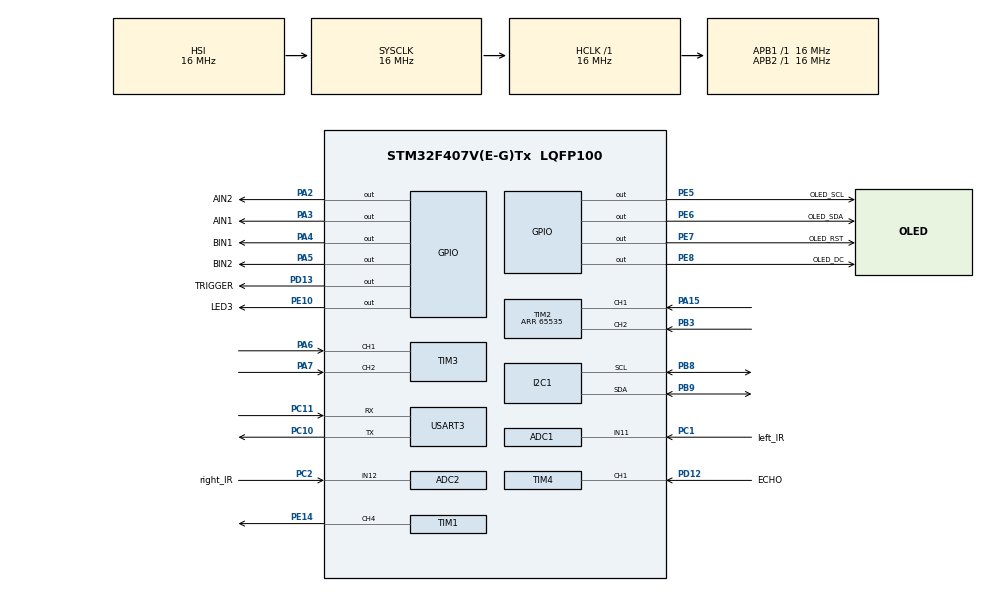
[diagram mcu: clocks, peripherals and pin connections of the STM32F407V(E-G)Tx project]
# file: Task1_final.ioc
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ADC1.Channel-0\#ChannelRegularConversion=ADC_CHANNEL_11
ADC1.NbrOfConversionFlag=1
ADC1.Rank-0\#ChannelRegularConversion=1
ADC1.SamplingTime-0\#ChannelRegularConversion=ADC_SAMPLETIME_3CYCLES
ADC1.master=1
ADC2.Channel-0\#ChannelRegularConversion=ADC_CHANNEL_12
ADC2.NbrOfConversionFlag=1
ADC2.Rank-0\#ChannelRegularConversion=1
ADC2.SamplingTime-0\#ChannelRegularConversion=ADC_SAMPLETIME_3CYCLES
FREERTOS.Tasks01=defaultTask,24,128,StartDefaultTask,Default,NULL,Dynamic,NULL,NULL;rightEncoderTas,8,128,rightEncoder,Default,NULL,Dynamic,NULL,NULL;leftEncoderTask,8,128,leftEncoder,Default,NULL,Dynamic,NULL,NULL;CommTask,8,128,StartCommsTask,Default,NULL,Dynamic,NULL,NULL;OLED,8,256,StartOLEDTask,Default,NULL,Dynamic,NULL,NULL;Motor,8,128,StartMotorTask,Default,NULL,Dynamic,NULL,NULL;GyroTask,8,128,StartGyroTask,Default,NULL,Dynamic,NULL,NULL
Mcu.Family=STM32F4
Mcu.Name=STM32F407V(E-G)Tx
Mcu.Package=LQFP100
NVIC.PriorityGroup=NVIC_PRIORITYGROUP_4
NVIC.RCC_IRQn=true\:5\:0\:false\:false\:true\:true\:true\:false\:true
NVIC.TIM4_IRQn=true\:5\:0\:false\:false\:true\:true\:true\:true\:true
NVIC.USART3_IRQn=true\:5\:0\:false\:false\:true\:true\:true\:true\:true
PA15.Signal=S_TIM2_CH1_ETR
PA2.GPIO_Label=AIN2
PA2.GPIO_Speed=GPIO_SPEED_FREQ_HIGH
PA2.Signal=GPIO_Output
PA3.GPIO_Label=AIN1
PA3.GPIO_Speed=GPIO_SPEED_FREQ_HIGH
PA3.Signal=GPIO_Output
PA4.GPIO_Label=BIN1
PA4.GPIO_Speed=GPIO_SPEED_FREQ_HIGH
PA4.PinState=GPIO_PIN_RESET
PA4.Signal=GPIO_Output
PA5.GPIO_Label=BIN2
PA5.GPIO_Speed=GPIO_SPEED_FREQ_HIGH
PA5.Signal=GPIO_Output
PA6.Signal=S_TIM3_CH1
PA7.Signal=S_TIM3_CH2
PB3.Signal=S_TIM2_CH2
PB8.Mode=I2C
PB8.Signal=I2C1_SCL
PB9.Mode=I2C
PB9.Signal=I2C1_SDA
PC1.GPIO_Label=left_IR
PC1.Signal=ADCx_IN11
PC10.Mode=Asynchronous
PC10.Signal=USART3_TX
PC11.Mode=Asynchronous
PC11.Signal=USART3_RX
PC2.GPIO_Label=right_IR
PC2.Signal=ADCx_IN12
PC6.GPIO_Label=PWMA
PC6.Signal=S_TIM8_CH1
PC7.GPIO_Label=PWMB
PC7.Signal=S_TIM8_CH2
PD12.GPIO_Label=ECHO
PD12.Signal=S_TIM4_CH1
PD13.GPIO_Label=TRIGGER
PD13.Signal=GPIO_Output
PE10.GPIO_Label=LED3
PE10.Signal=GPIO_Output
PE14.Signal=S_TIM1_CH4
PE5.GPIO_Label=OLED_SCL
PE5.Signal=GPIO_Output
PE6.GPIO_Label=OLED_SDA
PE6.Signal=GPIO_Output
PE7.GPIO_Label=OLED_RST
PE7.Signal=GPIO_Output
PE8.GPIO_Label=OLED_DC
PE8.Signal=GPIO_Output
PH0-OSC_IN.Mode=HSE-External-Oscillator
PH0-OSC_IN.Signal=RCC_OSC_IN
PH1-OSC_OUT.Mode=HSE-External-Oscillator
PH1-OSC_OUT.Signal=RCC_OSC_OUT
ProjectManager.HeapSize=0x200
ProjectManager.StackSize=0x400
ProjectManager.TargetToolchain=STM32CubeIDE
RCC.AHBFreq_Value=16000000
RCC.APB1Freq_Value=16000000
RCC.APB2Freq_Value=16000000
RCC.CortexFreq_Value=16000000
RCC.HSE_VALUE=25000000
RCC.HSI_VALUE=16000000
RCC.LSE_VALUE=32768
RCC.SYSCLKFreq_VALUE=16000000
RCC.VCOOutputFreq_Value=192000000
SH.ADCx_IN11.0=ADC1_IN11,IN11
SH.ADCx_IN12.0=ADC2_IN12,IN12
SH.S_TIM1_CH4.0=TIM1_CH4,PWM Generation4 CH4
SH.S_TIM2_CH1_ETR.0=TIM2_CH1,Encoder_Interface
SH.S_TIM2_CH2.0=TIM2_CH2,Encoder_Interface
SH.S_TIM3_CH1.0=TIM3_CH1,Encoder_Interface
SH.S_TIM3_CH2.0=TIM3_CH2,Encoder_Interface
SH.S_TIM4_CH1.0=TIM4_CH1,Input_Capture1_from_TI1
SH.S_TIM8_CH1.0=TIM8_CH1
SH.S_TIM8_CH2.0=TIM8_CH2
TIM1.AutoReloadPreload=TIM_AUTORELOAD_PRELOAD_ENABLE
TIM1.Channel-PWM\ Generation4\ CH4=TIM_CHANNEL_4
TIM1.Period=1000
TIM1.Prescaler=160
TIM2.EncoderMode=TIM_ENCODERMODE_TI12
TIM2.IC1Filter=10
TIM2.IC2Filter=10
TIM2.Period=65535
TIM3.EncoderMode=TIM_ENCODERMODE_TI12
TIM3.IC1Filter=10
TIM3.IC2Filter=10
TIM4.Channel-Input_Capture1_from_TI1=TIM_CHANNEL_1
TIM4.Prescaler=16-1
TIM8.Channel-PWM\ Generation1\ No\ Output=TIM_CHANNEL_1
TIM8.Channel-PWM\ Generation2\ No\ Output=TIM_CHANNEL_2
TIM8.Period=7199
USART3.VirtualMode=VM_ASYNC
VP_FREERTOS_VS_CMSIS_V2.Mode=CMSIS_V2
VP_TIM1_VS_ClockSourceINT.Mode=Internal
VP_TIM8_VS_ClockSourceINT.Mode=Internal
VP_TIM8_VS_no_output1.Mode=PWM Generation1 No Output
VP_TIM8_VS_no_output2.Mode=PWM Generation2 No Output
board=custom

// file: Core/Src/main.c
/* USER CODE BEGIN Header */
/**
  ******************************************************************************
  * @file           : main.c
  * @brief          : Main program body
  ******************************************************************************
  * @attention
  *
  * Copyright (c) 2025 STMicroelectronics.
  * All rights reserved.
  *
  * This software is licensed under terms that can be found in the LICENSE file
  * in the root directory of this software component.
  * If no LICENSE file comes with this software, it is provided AS-IS.
  *
  ******************************************************************************
  */
/* USER CODE END Header */
#include "main.h"
#include "cmsis_os.h"

/* USER CODE BEGIN Includes */
#include "oled.h"
#include "time.h"

/* USER CODE END Includes */

/* USER CODE BEGIN PD */

#define SERVOCENTER 146
#define SERVORIGHT 250
#define SERVOLEFT 84

/* USER CODE END PD */

ADC_HandleTypeDef hadc1;
ADC_HandleTypeDef hadc2;

I2C_HandleTypeDef hi2c1;

TIM_HandleTypeDef htim1;
TIM_HandleTypeDef htim2;
TIM_HandleTypeDef htim3;
TIM_HandleTypeDef htim4;
TIM_HandleTypeDef htim8;

UART_HandleTypeDef huart3;

/* Definitions for defaultTask */
osThreadId_t defaultTaskHandle;
const osThreadAttr_t defaultTask_attributes = {
  .name = "defaultTask",
  .stack_size = 128 * 4,
  .priority = (osPriority_t) osPriorityNormal,
};
/* Definitions for rightEncoderTas */
osThreadId_t rightEncoderTasHandle;
const osThreadAttr_t rightEncoderTas_attributes = {
  .name = "rightEncoderTas",
  .stack_size = 128 * 4,
  .priority = (osPriority_t) osPriorityLow,
};
/* Definitions for leftEncoderTask */
osThreadId_t leftEncoderTaskHandle;
const osThreadAttr_t leftEncoderTask_attributes = {
  .name = "leftEncoderTask",
  .stack_size = 128 * 4,
  .priority = (osPriority_t) osPriorityLow,
};
/* Definitions for CommTask */
osThreadId_t CommTaskHandle;
const osThreadAttr_t CommTask_attributes = {
  .name = "CommTask",
  .stack_size = 128 * 4,
  .priority = (osPriority_t) osPriorityLow,
};
/* Definitions for OLED */
osThreadId_t OLEDHandle;
const osThreadAttr_t OLED_attributes = {
  .name = "OLED",
  .stack_size = 256 * 4,
  .priority = (osPriority_t) osPriorityLow,
};
/* Definitions for Motor */
osThreadId_t MotorHandle;
const osThreadAttr_t Motor_attributes = {
  .name = "Motor",
  .stack_size = 128 * 4,
  .priority = (osPriority_t) osPriorityLow,
};
/* Definitions for GyroTask */
osThreadId_t GyroTaskHandle;
const osThreadAttr_t GyroTask_attributes = {
  .name = "GyroTask",
  .stack_size = 128 * 4,
  .priority = (osPriority_t) osPriorityLow,
};

void SystemClock_Config(void);
static void MX_GPIO_Init(void);
static void MX_TIM8_Init(void);
static void MX_TIM2_Init(void);
static void MX_TIM1_Init(void);
static void MX_USART3_UART_Init(void);
static void MX_TIM3_Init(void);
static void MX_I2C1_Init(void);
static void MX_TIM4_Init(void);
static void MX_ADC1_Init(void);
static void MX_ADC2_Init(void);
void StartDefaultTask(void *argument);
void rightEncoder(void *argument);
void leftEncoder(void *argument);
void StartCommsTask(void *argument);
void StartOLEDTask(void *argument);
void StartMotorTask(void *argument);
void StartGyroTask(void *argument);

/* USER CODE BEGIN 0 */

//UART
int receivedInstruction = 0;
uint8_t aRxBuffer[5];
int flagDone = 0;
int amplitude=0;

// movement
uint16_t pwmVal_servo = SERVOCENTER;
uint16_t pwmVal_R = 0;
uint16_t pwmVal_L = 0;
int times_acceptable = 0;
int e_brake = 0;

// encoder
int32_t rightEncoderVal = 0, leftEncoderVal = 0;
int32_t rightTarget = 0, leftTarget = 0;
double target_angle = 0;

// gyro
double total_angle = 0;
uint8_t gyroBuffer[20];
uint8_t ICMAddress = 0x68;

//ultrasonic
int u_CapturedTrig1;
int uintPart;
double echo_dist;
double echo_pulse;
int32_t trig1;
int32_t trig2;
double filtered_distance=60;
uint16_t filtered_distance_int = 0;
int obstacle_detected = 0;

/* USER CODE END 0 */

int main(void)
{

  /* MCU Configuration--------------------------------------------------------*/

  /* Reset of all peripherals, Initializes the Flash interface and the Systick. */
  HAL_Init();

  /* Configure the system clock */
  SystemClock_Config();

  /* Initialize all configured peripherals */
  MX_GPIO_Init();
  MX_TIM8_Init();
  MX_TIM2_Init();
  MX_TIM1_Init();
  MX_USART3_UART_Init();
  MX_TIM3_Init();
  MX_I2C1_Init();
  MX_TIM4_Init();
  MX_ADC1_Init();
  MX_ADC2_Init();
  /* USER CODE BEGIN 2 */

  /*------------INIT LIBRARIES ----------------*/
 OLED_Init();
 void delay_us(uint16_t time_us);
 //motor_init(&htim8, &htim2, &htim2); 						//initialize motor PWM and encoders. ############################################

 // HAL_UART_Receive_IT(&huart3, (uint8_t *) aRxBuffer,5);			//HAL...(HUART3,aRxBuffer, (how many character to input before it receives)

 /*------------END INIT LIBRARIES ----------------*/
  /* USER CODE END 2 */

  /* Init scheduler */
  osKernelInitialize();

  /* Create the thread(s) */
  /* creation of defaultTask */
  defaultTaskHandle = osThreadNew(StartDefaultTask, NULL, &defaultTask_attributes);

  /* creation of rightEncoderTas */
  rightEncoderTasHandle = osThreadNew(rightEncoder, NULL, &rightEncoderTas_attributes);

  /* creation of leftEncoderTask */
  leftEncoderTaskHandle = osThreadNew(leftEncoder, NULL, &leftEncoderTask_attributes);

  /* creation of CommTask */
  CommTaskHandle = osThreadNew(StartCommsTask, NULL, &CommTask_attributes);

  /* creation of OLED */
  OLEDHandle = osThreadNew(StartOLEDTask, NULL, &OLED_attributes);

  /* creation of Motor */
  MotorHandle = osThreadNew(StartMotorTask, NULL, &Motor_attributes);

  /* creation of GyroTask */
  GyroTaskHandle = osThreadNew(StartGyroTask, NULL, &GyroTask_attributes);

  /* Start scheduler */
  osKernelStart();

  /* We should never get here as control is now taken by the scheduler */

  /* Infinite loop */
  /* USER CODE BEGIN WHILE */
  while(1)
  {

//
//	   HAL_GPIO_TogglePin(LED3_GPIO_Port, LED3_Pin);

    /* USER CODE END WHILE */

  }
}

void SystemClock_Config(void)
{
  RCC_OscInitTypeDef RCC_OscInitStruct = {0};
  RCC_ClkInitTypeDef RCC_ClkInitStruct = {0};

  /** Configure the main internal regulator output voltage
  */
  __HAL_RCC_PWR_CLK_ENABLE();
  __HAL_PWR_VOLTAGESCALING_CONFIG(PWR_REGULATOR_VOLTAGE_SCALE1);

  /** Initializes the RCC Oscillators according to the specified parameters
  * in the RCC_OscInitTypeDef structure.
  */
  RCC_OscInitStruct.OscillatorType = RCC_OSCILLATORTYPE_HSI;
  RCC_OscInitStruct.HSIState = RCC_HSI_ON;
  RCC_OscInitStruct.HSICalibrationValue = RCC_HSICALIBRATION_DEFAULT;
  RCC_OscInitStruct.PLL.PLLState = RCC_PLL_NONE;
  if (HAL_RCC_OscConfig(&RCC_OscInitStruct) != HAL_OK)
  {
    Error_Handler();
  }

  /** Initializes the CPU, AHB and APB buses clocks
  */
  RCC_ClkInitStruct.ClockType = RCC_CLOCKTYPE_HCLK|RCC_CLOCKTYPE_SYSCLK
                              |RCC_CLOCKTYPE_PCLK1|RCC_CLOCKTYPE_PCLK2;
  RCC_ClkInitStruct.SYSCLKSource = RCC_SYSCLKSOURCE_HSI;
  RCC_ClkInitStruct.AHBCLKDivider = RCC_SYSCLK_DIV1;
  RCC_ClkInitStruct.APB1CLKDivider = RCC_HCLK_DIV1;
  RCC_ClkInitStruct.APB2CLKDivider = RCC_HCLK_DIV1;

  if (HAL_RCC_ClockConfig(&RCC_ClkInitStruct, FLASH_LATENCY_0) != HAL_OK)
  {
    Error_Handler();
  }
}

static void MX_ADC1_Init(void)
{

  ADC_ChannelConfTypeDef sConfig = {0};

  /** Configure the global features of the ADC (Clock, Resolution, Data Alignment and number of conversion)
  */
  hadc1.Instance = ADC1;
  hadc1.Init.ClockPrescaler = ADC_CLOCK_SYNC_PCLK_DIV2;
  hadc1.Init.Resolution = ADC_RESOLUTION_12B;
  hadc1.Init.ScanConvMode = DISABLE;
  hadc1.Init.ContinuousConvMode = DISABLE;
  hadc1.Init.DiscontinuousConvMode = DISABLE;
  hadc1.Init.ExternalTrigConvEdge = ADC_EXTERNALTRIGCONVEDGE_NONE;
  hadc1.Init.ExternalTrigConv = ADC_SOFTWARE_START;
  hadc1.Init.DataAlign = ADC_DATAALIGN_RIGHT;
  hadc1.Init.NbrOfConversion = 1;
  hadc1.Init.DMAContinuousRequests = DISABLE;
  hadc1.Init.EOCSelection = ADC_EOC_SINGLE_CONV;
  if (HAL_ADC_Init(&hadc1) != HAL_OK)
  {
    Error_Handler();
  }

  /** Configure for the selected ADC regular channel its corresponding rank in the sequencer and its sample time.
  */
  sConfig.Channel = ADC_CHANNEL_11;
  sConfig.Rank = 1;
  sConfig.SamplingTime = ADC_SAMPLETIME_3CYCLES;
  if (HAL_ADC_ConfigChannel(&hadc1, &sConfig) != HAL_OK)
  {
    Error_Handler();
  }

}

static void MX_ADC2_Init(void)
{

  ADC_ChannelConfTypeDef sConfig = {0};

  /** Configure the global features of the ADC (Clock, Resolution, Data Alignment and number of conversion)
  */
  hadc2.Instance = ADC2;
  hadc2.Init.ClockPrescaler = ADC_CLOCK_SYNC_PCLK_DIV2;
  hadc2.Init.Resolution = ADC_RESOLUTION_12B;
  hadc2.Init.ScanConvMode = DISABLE;
  hadc2.Init.ContinuousConvMode = DISABLE;
  hadc2.Init.DiscontinuousConvMode = DISABLE;
  hadc2.Init.ExternalTrigConvEdge = ADC_EXTERNALTRIGCONVEDGE_NONE;
  hadc2.Init.ExternalTrigConv = ADC_SOFTWARE_START;
  hadc2.Init.DataAlign = ADC_DATAALIGN_RIGHT;
  hadc2.Init.NbrOfConversion = 1;
  hadc2.Init.DMAContinuousRequests = DISABLE;
  hadc2.Init.EOCSelection = ADC_EOC_SINGLE_CONV;
  if (HAL_ADC_Init(&hadc2) != HAL_OK)
  {
    Error_Handler();
  }

  /** Configure for the selected ADC regular channel its corresponding rank in the sequencer and its sample time.
  */
  sConfig.Channel = ADC_CHANNEL_12;
  sConfig.Rank = 1;
  sConfig.SamplingTime = ADC_SAMPLETIME_3CYCLES;
  if (HAL_ADC_ConfigChannel(&hadc2, &sConfig) != HAL_OK)
  {
    Error_Handler();
  }

}

static void MX_I2C1_Init(void)
{

  hi2c1.Instance = I2C1;
  hi2c1.Init.ClockSpeed = 100000;
  hi2c1.Init.DutyCycle = I2C_DUTYCYCLE_2;
  hi2c1.Init.OwnAddress1 = 0;
  hi2c1.Init.AddressingMode = I2C_ADDRESSINGMODE_7BIT;
  hi2c1.Init.DualAddressMode = I2C_DUALADDRESS_DISABLE;
  hi2c1.Init.OwnAddress2 = 0;
  hi2c1.Init.GeneralCallMode = I2C_GENERALCALL_DISABLE;
  hi2c1.Init.NoStretchMode = I2C_NOSTRETCH_DISABLE;
  if (HAL_I2C_Init(&hi2c1) != HAL_OK)
  {
    Error_Handler();
  }

}

static void MX_TIM1_Init(void)
{

  TIM_ClockConfigTypeDef sClockSourceConfig = {0};
  TIM_MasterConfigTypeDef sMasterConfig = {0};
  TIM_OC_InitTypeDef sConfigOC = {0};
  TIM_BreakDeadTimeConfigTypeDef sBreakDeadTimeConfig = {0};

  htim1.Instance = TIM1;
  htim1.Init.Prescaler = 160;
  htim1.Init.CounterMode = TIM_COUNTERMODE_UP;
  htim1.Init.Period = 1000;
  htim1.Init.ClockDivision = TIM_CLOCKDIVISION_DIV1;
  htim1.Init.RepetitionCounter = 0;
  htim1.Init.AutoReloadPreload = TIM_AUTORELOAD_PRELOAD_ENABLE;
  if (HAL_TIM_Base_Init(&htim1) != HAL_OK)
  {
    Error_Handler();
  }
  sClockSourceConfig.ClockSource = TIM_CLOCKSOURCE_INTERNAL;
  if (HAL_TIM_ConfigClockSource(&htim1, &sClockSourceConfig) != HAL_OK)
  {
    Error_Handler();
  }
  if (HAL_TIM_PWM_Init(&htim1) != HAL_OK)
  {
    Error_Handler();
  }
  sMasterConfig.MasterOutputTrigger = TIM_TRGO_RESET;
  sMasterConfig.MasterSlaveMode = TIM_MASTERSLAVEMODE_DISABLE;
  if (HAL_TIMEx_MasterConfigSynchronization(&htim1, &sMasterConfig) != HAL_OK)
  {
    Error_Handler();
  }
  sConfigOC.OCMode = TIM_OCMODE_PWM1;
  sConfigOC.Pulse = 0;
  sConfigOC.OCPolarity = TIM_OCPOLARITY_HIGH;
  sConfigOC.OCFastMode = TIM_OCFAST_DISABLE;
  sConfigOC.OCIdleState = TIM_OCIDLESTATE_RESET;
  sConfigOC.OCNIdleState = TIM_OCNIDLESTATE_RESET;
  if (HAL_TIM_PWM_ConfigChannel(&htim1, &sConfigOC, TIM_CHANNEL_4) != HAL_OK)
  {
    Error_Handler();
  }
  sBreakDeadTimeConfig.OffStateRunMode = TIM_OSSR_DISABLE;
  sBreakDeadTimeConfig.OffStateIDLEMode = TIM_OSSI_DISABLE;
  sBreakDeadTimeConfig.LockLevel = TIM_LOCKLEVEL_OFF;
  sBreakDeadTimeConfig.DeadTime = 0;
  sBreakDeadTimeConfig.BreakState = TIM_BREAK_DISABLE;
  sBreakDeadTimeConfig.BreakPolarity = TIM_BREAKPOLARITY_HIGH;
  sBreakDeadTimeConfig.AutomaticOutput = TIM_AUTOMATICOUTPUT_DISABLE;
  if (HAL_TIMEx_ConfigBreakDeadTime(&htim1, &sBreakDeadTimeConfig) != HAL_OK)
  {
    Error_Handler();
  }
  HAL_TIM_MspPostInit(&htim1);

}

static void MX_TIM2_Init(void)
{

  TIM_Encoder_InitTypeDef sConfig = {0};
  TIM_MasterConfigTypeDef sMasterConfig = {0};

  htim2.Instance = TIM2;
  htim2.Init.Prescaler = 0;
  htim2.Init.CounterMode = TIM_COUNTERMODE_UP;
  htim2.Init.Period = 65535;
  htim2.Init.ClockDivision = TIM_CLOCKDIVISION_DIV1;
  htim2.Init.AutoReloadPreload = TIM_AUTORELOAD_PRELOAD_DISABLE;
  sConfig.EncoderMode = TIM_ENCODERMODE_TI12;
  sConfig.IC1Polarity = TIM_ICPOLARITY_RISING;
  sConfig.IC1Selection = TIM_ICSELECTION_DIRECTTI;
  sConfig.IC1Prescaler = TIM_ICPSC_DIV1;
  sConfig.IC1Filter = 10;
  sConfig.IC2Polarity = TIM_ICPOLARITY_RISING;
  sConfig.IC2Selection = TIM_ICSELECTION_DIRECTTI;
  sConfig.IC2Prescaler = TIM_ICPSC_DIV1;
  sConfig.IC2Filter = 10;
  if (HAL_TIM_Encoder_Init(&htim2, &sConfig) != HAL_OK)
  {
    Error_Handler();
  }
  sMasterConfig.MasterOutputTrigger = TIM_TRGO_RESET;
  sMasterConfig.MasterSlaveMode = TIM_MASTERSLAVEMODE_DISABLE;
  if (HAL_TIMEx_MasterConfigSynchronization(&htim2, &sMasterConfig) != HAL_OK)
  {
    Error_Handler();
  }

}

static void MX_TIM3_Init(void)
{

  TIM_Encoder_InitTypeDef sConfig = {0};
  TIM_MasterConfigTypeDef sMasterConfig = {0};

  htim3.Instance = TIM3;
  htim3.Init.Prescaler = 0;
  htim3.Init.CounterMode = TIM_COUNTERMODE_UP;
  htim3.Init.Period = 65535;
  htim3.Init.ClockDivision = TIM_CLOCKDIVISION_DIV1;
  htim3.Init.AutoReloadPreload = TIM_AUTORELOAD_PRELOAD_DISABLE;
  sConfig.EncoderMode = TIM_ENCODERMODE_TI12;
  sConfig.IC1Polarity = TIM_ICPOLARITY_RISING;
  sConfig.IC1Selection = TIM_ICSELECTION_DIRECTTI;
  sConfig.IC1Prescaler = TIM_ICPSC_DIV1;
  sConfig.IC1Filter = 10;
  sConfig.IC2Polarity = TIM_ICPOLARITY_RISING;
  sConfig.IC2Selection = TIM_ICSELECTION_DIRECTTI;
  sConfig.IC2Prescaler = TIM_ICPSC_DIV1;
  sConfig.IC2Filter = 10;
  if (HAL_TIM_Encoder_Init(&htim3, &sConfig) != HAL_OK)
  {
    Error_Handler();
  }
  sMasterConfig.MasterOutputTrigger = TIM_TRGO_RESET;
  sMasterConfig.MasterSlaveMode = TIM_MASTERSLAVEMODE_DISABLE;
  if (HAL_TIMEx_MasterConfigSynchronization(&htim3, &sMasterConfig) != HAL_OK)
  {
    Error_Handler();
  }

}

static void MX_TIM4_Init(void)
{

  TIM_MasterConfigTypeDef sMasterConfig = {0};
  TIM_IC_InitTypeDef sConfigIC = {0};

  htim4.Instance = TIM4;
  htim4.Init.Prescaler = 16-1;
  htim4.Init.CounterMode = TIM_COUNTERMODE_UP;
  htim4.Init.Period = 65535;
  htim4.Init.ClockDivision = TIM_CLOCKDIVISION_DIV1;
  htim4.Init.AutoReloadPreload = TIM_AUTORELOAD_PRELOAD_DISABLE;
  if (HAL_TIM_IC_Init(&htim4) != HAL_OK)
  {
    Error_Handler();
  }
  sMasterConfig.MasterOutputTrigger = TIM_TRGO_RESET;
  sMasterConfig.MasterSlaveMode = TIM_MASTERSLAVEMODE_DISABLE;
  if (HAL_TIMEx_MasterConfigSynchronization(&htim4, &sMasterConfig) != HAL_OK)
  {
    Error_Handler();
  }
  sConfigIC.ICPolarity = TIM_INPUTCHANNELPOLARITY_RISING;
  sConfigIC.ICSelection = TIM_ICSELECTION_DIRECTTI;
  sConfigIC.ICPrescaler = TIM_ICPSC_DIV1;
  sConfigIC.ICFilter = 0;
  if (HAL_TIM_IC_ConfigChannel(&htim4, &sConfigIC, TIM_CHANNEL_1) != HAL_OK)
  {
    Error_Handler();
  }

}

static void MX_TIM8_Init(void)
{

  TIM_ClockConfigTypeDef sClockSourceConfig = {0};
  TIM_MasterConfigTypeDef sMasterConfig = {0};
  TIM_OC_InitTypeDef sConfigOC = {0};
  TIM_BreakDeadTimeConfigTypeDef sBreakDeadTimeConfig = {0};

  htim8.Instance = TIM8;
  htim8.Init.Prescaler = 0;
  htim8.Init.CounterMode = TIM_COUNTERMODE_UP;
  htim8.Init.Period = 7199;
  htim8.Init.ClockDivision = TIM_CLOCKDIVISION_DIV1;
  htim8.Init.RepetitionCounter = 0;
  htim8.Init.AutoReloadPreload = TIM_AUTORELOAD_PRELOAD_DISABLE;
  if (HAL_TIM_Base_Init(&htim8) != HAL_OK)
  {
    Error_Handler();
  }
  sClockSourceConfig.ClockSource = TIM_CLOCKSOURCE_INTERNAL;
  if (HAL_TIM_ConfigClockSource(&htim8, &sClockSourceConfig) != HAL_OK)
  {
    Error_Handler();
  }
  if (HAL_TIM_PWM_Init(&htim8) != HAL_OK)
  {
    Error_Handler();
  }
  sMasterConfig.MasterOutputTrigger = TIM_TRGO_RESET;
  sMasterConfig.MasterSlaveMode = TIM_MASTERSLAVEMODE_DISABLE;
  if (HAL_TIMEx_MasterConfigSynchronization(&htim8, &sMasterConfig) != HAL_OK)
  {
    Error_Handler();
  }
  sConfigOC.OCMode = TIM_OCMODE_PWM1;
  sConfigOC.Pulse = 0;
  sConfigOC.OCPolarity = TIM_OCPOLARITY_HIGH;
  sConfigOC.OCNPolarity = TIM_OCNPOLARITY_HIGH;
  sConfigOC.OCFastMode = TIM_OCFAST_DISABLE;
  sConfigOC.OCIdleState = TIM_OCIDLESTATE_RESET;
  sConfigOC.OCNIdleState = TIM_OCNIDLESTATE_RESET;
  if (HAL_TIM_PWM_ConfigChannel(&htim8, &sConfigOC, TIM_CHANNEL_1) != HAL_OK)
  {
    Error_Handler();
  }
  if (HAL_TIM_PWM_ConfigChannel(&htim8, &sConfigOC, TIM_CHANNEL_2) != HAL_OK)
  {
    Error_Handler();
  }
  sBreakDeadTimeConfig.OffStateRunMode = TIM_OSSR_DISABLE;
  sBreakDeadTimeConfig.OffStateIDLEMode = TIM_OSSI_DISABLE;
  sBreakDeadTimeConfig.LockLevel = TIM_LOCKLEVEL_OFF;
  sBreakDeadTimeConfig.DeadTime = 0;
  sBreakDeadTimeConfig.BreakState = TIM_BREAK_DISABLE;
  sBreakDeadTimeConfig.BreakPolarity = TIM_BREAKPOLARITY_HIGH;
  sBreakDeadTimeConfig.AutomaticOutput = TIM_AUTOMATICOUTPUT_DISABLE;
  if (HAL_TIMEx_ConfigBreakDeadTime(&htim8, &sBreakDeadTimeConfig) != HAL_OK)
  {
    Error_Handler();
  }

}

static void MX_USART3_UART_Init(void)
{

  huart3.Instance = USART3;
  huart3.Init.BaudRate = 115200;
  huart3.Init.WordLength = UART_WORDLENGTH_8B;
  huart3.Init.StopBits = UART_STOPBITS_1;
  huart3.Init.Parity = UART_PARITY_NONE;
  huart3.Init.Mode = UART_MODE_TX_RX;
  huart3.Init.HwFlowCtl = UART_HWCONTROL_NONE;
  huart3.Init.OverSampling = UART_OVERSAMPLING_16;
  if (HAL_UART_Init(&huart3) != HAL_OK)
  {
    Error_Handler();
  }

}

static void MX_GPIO_Init(void)
{
  GPIO_InitTypeDef GPIO_InitStruct = {0};

  /* GPIO Ports Clock Enable */
  __HAL_RCC_GPIOE_CLK_ENABLE();
  __HAL_RCC_GPIOH_CLK_ENABLE();
  __HAL_RCC_GPIOC_CLK_ENABLE();
  __HAL_RCC_GPIOA_CLK_ENABLE();
  __HAL_RCC_GPIOD_CLK_ENABLE();
  __HAL_RCC_GPIOB_CLK_ENABLE();

  /*Configure GPIO pin Output Level */
  HAL_GPIO_WritePin(GPIOE, OLED_SCL_Pin|OLED_SDA_Pin|OLED_RST_Pin|OLED_DC_Pin
                          |LED3_Pin, GPIO_PIN_RESET);

  /*Configure GPIO pin Output Level */
  HAL_GPIO_WritePin(GPIOA, AIN2_Pin|AIN1_Pin|BIN1_Pin|BIN2_Pin, GPIO_PIN_RESET);

  /*Configure GPIO pin Output Level */
  HAL_GPIO_WritePin(TRIGGER_GPIO_Port, TRIGGER_Pin, GPIO_PIN_RESET);

  /*Configure GPIO pins : OLED_SCL_Pin OLED_SDA_Pin OLED_RST_Pin OLED_DC_Pin
                           LED3_Pin */
  GPIO_InitStruct.Pin = OLED_SCL_Pin|OLED_SDA_Pin|OLED_RST_Pin|OLED_DC_Pin
                          |LED3_Pin;
  GPIO_InitStruct.Mode = GPIO_MODE_OUTPUT_PP;
  GPIO_InitStruct.Pull = GPIO_NOPULL;
  GPIO_InitStruct.Speed = GPIO_SPEED_FREQ_LOW;
  HAL_GPIO_Init(GPIOE, &GPIO_InitStruct);

  /*Configure GPIO pins : AIN2_Pin AIN1_Pin BIN1_Pin BIN2_Pin */
  GPIO_InitStruct.Pin = AIN2_Pin|AIN1_Pin|BIN1_Pin|BIN2_Pin;
  GPIO_InitStruct.Mode = GPIO_MODE_OUTPUT_PP;
  GPIO_InitStruct.Pull = GPIO_NOPULL;
  GPIO_InitStruct.Speed = GPIO_SPEED_FREQ_HIGH;
  HAL_GPIO_Init(GPIOA, &GPIO_InitStruct);

  /*Configure GPIO pin : TRIGGER_Pin */
  GPIO_InitStruct.Pin = TRIGGER_Pin;
  GPIO_InitStruct.Mode = GPIO_MODE_OUTPUT_PP;
  GPIO_InitStruct.Pull = GPIO_NOPULL;
  GPIO_InitStruct.Speed = GPIO_SPEED_FREQ_LOW;
  HAL_GPIO_Init(TRIGGER_GPIO_Port, &GPIO_InitStruct);

}

/* USER CODE BEGIN 4 */
void HAL_UART_RxCpltCallback(UART_HandleTypeDef *huart)
{
	/* Prevent unused argument(s) compilation warning*/
	 UNUSED(huart);
	 receivedInstruction =1;
}

// movement
void moveCarStraight(double distance) {

	distance = distance * 75;
	  pwmVal_servo = SERVOCENTER;
	  osDelay(450);
	  e_brake = 0;
	  times_acceptable = 0;
	  rightEncoderVal = 75000;
	  leftEncoderVal = 75000;
	  rightTarget = 75000;
	  leftTarget = 75000;
	  rightTarget += distance;
	  leftTarget += distance;

	  while(finishCheck()) {
	    // Check for obstacle during movement (for forward movement only)
	    if (distance > 0 && obstacle_detected) {
	      e_brake = 1;  // Trigger emergency brake
	      pwmVal_servo = SERVOCENTER;
	      HAL_UART_Transmit(&huart3, (uint8_t*)"O\0", 2, 0xFFFF);  // Send obstacle alert
	      break;  // Exit the loop
	    }
	  }
}

void moveCarStop() {
	e_brake = 1;
	pwmVal_servo = SERVOCENTER;
	osDelay(200);
}

void moveCarRight(double angle) {
	pwmVal_servo = SERVORIGHT;
	osDelay(450);
	e_brake = 0;
	times_acceptable = 0;
	target_angle -= angle;
	while (finishCheck());
}

void moveCarLeft(double angle) {
	pwmVal_servo = SERVOLEFT;
	osDelay(450);
	e_brake = 0;
	times_acceptable = 0;
	target_angle += angle;
	while (finishCheck());
}

// error correction
int PID_Control(int error, int right) {
	if (right) { //rightMotor
		if (error > 0) { //go forward
			HAL_GPIO_WritePin(GPIOA, BIN1_Pin, GPIO_PIN_SET); // set direction of rotation for wheel B (RIGHT)- FORWARD
			HAL_GPIO_WritePin(GPIOA, BIN2_Pin, GPIO_PIN_RESET);
		} else { //go backward
			HAL_GPIO_WritePin(GPIOA, BIN1_Pin, GPIO_PIN_RESET); // set direction of rotation for wheel B (RIGHT)- BACKWARDS
			HAL_GPIO_WritePin(GPIOA, BIN2_Pin, GPIO_PIN_SET);
		}
	} else { //leftMotor
		if (error > 0) { //go forward
			HAL_GPIO_WritePin(GPIOA, AIN1_Pin, GPIO_PIN_SET); // set direction of rotation for wheel A(LEFT) - FORWARD
			HAL_GPIO_WritePin(GPIOA, AIN2_Pin, GPIO_PIN_RESET);
		} else { //go backward
			HAL_GPIO_WritePin(GPIOA, AIN1_Pin, GPIO_PIN_RESET); // set direction of rotation for wheel A(LEFT) - BACKWARDS
			HAL_GPIO_WritePin(GPIOA, AIN2_Pin, GPIO_PIN_SET);
		}
	}

	error = abs(error);
	if (error > 2000) {
		return 3000;
	} else if (error > 500)     {
		return 2000;
	 } else if (error > 200)  {
		return 1400;
	  } else if (error > 100)    {
		return 1000;
	   } else if (error > 2)  {
			times_acceptable++;
			return 500;
			} else if (error >= 1) {
		times_acceptable++;
		return 0;
	} else {
		times_acceptable++;
		return 0;
	}
}

int PID_Angle(double errord, int right) {
	int error = (int) (errord * 10);
	if (right) { //rightMotor = WHEEL B
		if (error > 0) { //go forward
			HAL_GPIO_WritePin(GPIOA, BIN1_Pin, GPIO_PIN_SET); // Direction of rotation- forward
			HAL_GPIO_WritePin(GPIOA, BIN2_Pin, GPIO_PIN_RESET);
		} else { //go backward
			HAL_GPIO_WritePin(GPIOA, BIN1_Pin, GPIO_PIN_RESET); // Direction of rotation - reverse
			HAL_GPIO_WritePin(GPIOA, BIN2_Pin, GPIO_PIN_SET);
		}
	} else { //leftMotor = WHEEL A
		if (error < 0) { //go forward
			HAL_GPIO_WritePin(GPIOA, AIN1_Pin, GPIO_PIN_SET); // Direction of rotation - forward
			HAL_GPIO_WritePin(GPIOA, AIN2_Pin, GPIO_PIN_RESET);
		} else { //go backward
			HAL_GPIO_WritePin(GPIOA, AIN1_Pin, GPIO_PIN_RESET); // Direction of rotation - reverse
			HAL_GPIO_WritePin(GPIOA, AIN2_Pin, GPIO_PIN_SET);
		}
	}

	error = abs(error);
	if (error > 300) {
		return 3000;
	} else if (error > 200) {
		return 2000;
	} else if (error > 150) {
		return 1600;
	} else if (error > 100) {
		return 1400;
	} else if (error > 10) {
		return 1000;
	} else if (error >= 2) {
		times_acceptable++;
		return 600;
	} else {
		times_acceptable++;
		return 0;
	}
}

int finishCheck() {
	if (times_acceptable > 20) {		//break if deviating from path
		e_brake = 1;
		pwmVal_L = pwmVal_R = 0;
		leftTarget = leftEncoderVal;
		rightTarget = rightEncoderVal;
		times_acceptable = 0;
		osDelay(300);
		return 0;
	}
	return 1;
}

// ultrasonic
void delay_us(uint16_t time_us) {
	__HAL_TIM_SET_COUNTER(&htim4, 0);
	while (__HAL_TIM_GET_COUNTER(&htim4) < time_us);
}

void Ultrasonic_Read(void) //Call when u want to get reading from US
{
	HAL_GPIO_WritePin(TRIGGER_GPIO_Port, TRIGGER_Pin, GPIO_PIN_SET);
	delay_us(20);
	HAL_GPIO_WritePin(TRIGGER_GPIO_Port, TRIGGER_Pin, GPIO_PIN_RESET);
	__HAL_TIM_ENABLE_IT(&htim4, TIM_IT_CC1);
	//osDelay(50);
}

void HAL_TIM_IC_CaptureCallback(TIM_HandleTypeDef *htim){

	//OLED_ShowString(0, 50, "hello pls work");

	if(htim->Channel ==HAL_TIM_ACTIVE_CHANNEL_1){
		if(u_CapturedTrig1 == 0){	// Ultrasonic Trigger first sent
			trig1 = HAL_TIM_ReadCapturedValue(htim, TIM_CHANNEL_1);
			u_CapturedTrig1 =1;
			__HAL_TIM_SET_CAPTUREPOLARITY(htim, TIM_CHANNEL_1,
					TIM_INPUTCHANNELPOLARITY_FALLING);

		}

		else if (u_CapturedTrig1 == 1){	//Ultrasonic Trigger 2nd sent
				trig2 = HAL_TIM_ReadCapturedValue(htim, TIM_CHANNEL_1);
				__HAL_TIM_SET_COUNTER(htim,0);

				if (trig2 > trig1){
					echo_pulse = trig2-trig1;		//width of pulse
				} else {
					echo_pulse = (65535-trig1)+trig2;	//if overflow, width of pulse
				}
				//if((echo_dist = echo_pulse * 0.0343/2) <60 &&(echo_dist = echo_pulse * 0.0343/2)>1 )
				echo_dist = echo_pulse * 0.0343/2; //echo_dist in cm

				u_CapturedTrig1 =0;

				__HAL_TIM_SET_CAPTUREPOLARITY(htim, TIM_CHANNEL_1, TIM_INPUTCHANNELPOLARITY_RISING);
				__HAL_TIM_DISABLE_IT(&htim4, TIM_IT_CC1);

		}

	}
}

//////////////////////////////////////////////////////////////

 //gyro
void readByte(uint8_t addr, uint8_t *data) {
	gyroBuffer[0] = addr;
	HAL_I2C_Master_Transmit(&hi2c1, ICMAddress << 1, gyroBuffer, 1, 10);
	HAL_I2C_Master_Receive(&hi2c1, ICMAddress << 1, data, 2, 20);
}

void writeByte(uint8_t addr, uint8_t data) {
	gyroBuffer[0] = addr;
	gyroBuffer[1] = data;
	HAL_I2C_Master_Transmit(&hi2c1, ICMAddress << 1, gyroBuffer, 2, 20);
}

void gyroInit() {
	writeByte(0x06, 0x00);
	osDelay(10);
	writeByte(0x03, 0x80);
	osDelay(10);
	writeByte(0x07, 0x07);
	osDelay(10);
	writeByte(0x06, 0x01);
	osDelay(10);
	writeByte(0x7F, 0x20);
	osDelay(10);
	writeByte(0x01, 0x2F);
	osDelay(10);
	writeByte(0x0, 0x00);
	osDelay(10);
	writeByte(0x7F, 0x00);
	osDelay(10);
	writeByte(0x07, 0x00);
	osDelay(10);
}

//////////////////////////////////////////////////////////////////////////////

/* USER CODE END 4 */

void StartDefaultTask(void *argument)
{
  /* USER CODE BEGIN 5 */
  /* Infinite loop */

  for(;;)
  {
	 HAL_GPIO_TogglePin(LED3_GPIO_Port, LED3_Pin);
     osDelay(1000);
  }
  /* USER CODE END 5 */
}

void rightEncoder(void *argument)
{
  /* USER CODE BEGIN rightEncoder */
  /* Infinite loop */
	HAL_TIM_Encoder_Start(&htim3, TIM_CHANNEL_ALL);
		int cnt1;
		int dirR = 1;
		int diff;
		uint32_t tick = HAL_GetTick();
		/* Infinite loop */
		for (;;) {
			if (HAL_GetTick() - tick > 10L) {
				cnt1 = __HAL_TIM_GET_COUNTER(&htim3);
				if (cnt1 > 32000) {
					dirR = 1;
					diff = (65536 - cnt1);
				} else {
					dirR = -1;
					diff = cnt1;
				}
				if (dirR == 1) {
					rightEncoderVal -= diff;
				} else {
					rightEncoderVal += diff;
				}

				__HAL_TIM_SET_COUNTER(&htim3, 0);

				tick = HAL_GetTick();
			}
			osDelay(50);
		}
  /* USER CODE END rightEncoder */
}

void leftEncoder(void *argument)
{
  /* USER CODE BEGIN leftEncoder */
  /* Infinite loop */
	HAL_TIM_Encoder_Start(&htim2, TIM_CHANNEL_ALL);
	int cnt2;
	int dirL = 1;
	int diff;

	uint32_t tick = HAL_GetTick();

	/* Infinite loop */
	for (;;) {
		if (HAL_GetTick() - tick > 10L) {
			cnt2 = __HAL_TIM_GET_COUNTER(&htim2);

			if (cnt2 > 32000) {
				dirL = 1;
				diff = (65536 - cnt2);
			} else {
				dirL = -1;
				diff = cnt2;
			}
			if (dirL == 1) {
				leftEncoderVal += diff;
			} else {
				leftEncoderVal -= diff;
			}

			__HAL_TIM_SET_COUNTER(&htim2, 0);

			tick = HAL_GetTick();
		}
		  osDelay(50);
	}
  /* USER CODE END leftEncoder */
}

void StartCommsTask(void *argument)
{
  /* USER CODE BEGIN StartCommsTask */
  /* Infinite loop */

	  uint8_t ack[4] = "A\0";        // ACK
	  uint8_t invalid[8] = "I\0";    // "INVALID
	  uint8_t obstacle[2] = "O\0";   // Obstacle detected

	  strcpy((char *)aRxBuffer, "START");

	  /* Infinite loop */
	  for(;;)
	  {
	    // Make sure UART is ready to receive
	    HAL_UART_Receive_IT(&huart3, (uint8_t *) aRxBuffer, 5);

	    if(receivedInstruction == 1)
	    {
	      amplitude = 0;

	      // Check valid command format
	      if ((aRxBuffer[0] == 'R' && aRxBuffer[1] == 'E' && aRxBuffer[2] == 'S' && aRxBuffer[3] == 'E' && aRxBuffer[4] == 'T')
	          || ((aRxBuffer[0] == 'F' || aRxBuffer[0] == 'B')        // move Forward, Backwards
	          && (aRxBuffer[1] == 'S' || aRxBuffer[1] == 'R' || aRxBuffer[1] == 'L'))   // move straight, right, or left
	          && ((aRxBuffer[2] - '0') >= 0 && (aRxBuffer[2] - '0') <= 9)
	          && ((aRxBuffer[3] - '0') >= 0 && (aRxBuffer[3] - '0') <= 9)
	          && ((aRxBuffer[4] - '0') >= 0 && (aRxBuffer[4] - '0') <= 9))
	      {
	        // Check if we're trying to move forward and there's an obstacle
	        if (aRxBuffer[0] == 'F' && aRxBuffer[1] == 'S' && obstacle_detected) {
	          // Don't execute the forward command if there's an obstacle
	          strcpy((char *)aRxBuffer, "OBST!");
	          HAL_UART_Transmit(&huart3, (uint8_t*) obstacle, 2, 0xFFFF);  // Send obstacle alert
	          receivedInstruction = 0;
	        }
	        else {
	          // Process the command as usual
	          HAL_UART_AbortReceive_IT(&huart3);  // pause receiving from UART

	          amplitude = ((int) (aRxBuffer[2]) - 48) * 100
	                    + ((int) (aRxBuffer[3]) - 48) * 10
	                    + ((int) (aRxBuffer[4]) - 48);

	          if (aRxBuffer[0] == 'B') {          // check Direction first
	            amplitude *= -1;
	          }

	          osDelay(10);
	          switch (aRxBuffer[1]) {
	          case 'S':
	            moveCarStraight(amplitude);
	            strcpy((char *)aRxBuffer, "DONE!");    // Display to ACK cmd on OLED
	            flagDone = 1;
	            osDelay(10);
	            break;
	          case 'R':
	            moveCarRight(amplitude);
	            strcpy((char *)aRxBuffer, "DONE!");    // Display to ACK cmd on OLED
	            flagDone = 1;
	            osDelay(10);
	            break;
	          case 'L':
	            moveCarLeft(amplitude);
	            strcpy((char *)aRxBuffer, "DONE!");    // Display to ACK cmd on OLED
	            flagDone = 1;
	            osDelay(10);
	            break;
	          case 'E':                   // reset whole system to recalibrate gyro
	            strcpy((char *)aRxBuffer, "RESET");
	            HAL_UART_Transmit(&huart3, (uint8_t*) "R\0", 2, 0xFFFF);  // TRANSMITTING "RESET" TO RPI/PUTTY
	            osDelay(500);
	            NVIC_SystemReset();
	            osDelay(10);
	            break;
	          }
	        }
	      }
	      else      // INVALID CHOICE
	      {
	        strcpy((char *)aRxBuffer, "INVAL");
	        osDelay(10);
	        HAL_UART_Transmit(&huart3, (uint8_t*) &invalid, 8, 0xFFFF);  // TRANSMITTING "INVAL" TO RPI/PUTTY
	        receivedInstruction = 0;
	      }
	    }

	    if (flagDone == 1) {
	      receivedInstruction = 0;
	      osDelay(10);
	      HAL_UART_Transmit(&huart3, (uint8_t*) &ack, 4, 0xFFFF);   // TRANSMITTING "ACK" TO RPI/PUTTY
	      flagDone = 0;
	    }

	    osDelay(10);
	  }
  /* USER CODE END StartCommsTask */
}

void StartOLEDTask(void *argument)
{
  /* USER CODE BEGIN StartOLEDTask */
  /* Infinite loop */
// aaa	uint8_t usVal[20] = { 0 };
	uint8_t gyroVal[20] = { 0 };
	uint8_t command[20] = { 0 };
	uint8_t echo[20] = { 0 };

	for (;;) {
		int decimals = abs((int) ((total_angle - (int) (total_angle)) * 1000));
		sprintf(gyroVal, "Gyro: %d.%d \0", (int) total_angle, decimals);
		OLED_ShowString(0, 10, gyroVal);

		sprintf(command, "C: %c%c%c%c%c \0", aRxBuffer[0], aRxBuffer[1],
				aRxBuffer[2], aRxBuffer[3], aRxBuffer[4]);
		OLED_ShowString(0, 20, command);

		//print ultrasonic readings

		//uintPart = (int)echo_dist;
		//sprintf(echo, "E = %dcm \0", uintPart);

//		sprintf(echo, "UDist: %.2d \0", echo_dist);
				OLED_ShowString(0, 30, echo);

		OLED_Refresh_Gram();
		osDelay(100);
	}
  /* USER CODE END StartOLEDTask */
}

void StartMotorTask(void *argument)
{
  /* USER CODE BEGIN StartMotorTask */
  /* Infinite loop */
	pwmVal_R = 0;
	  pwmVal_L = 0;
	  int straightCorrection = 0;
	  HAL_TIM_PWM_Start(&htim8, TIM_CHANNEL_1);
	  HAL_TIM_PWM_Start(&htim8, TIM_CHANNEL_2);
	  HAL_TIM_PWM_Start(&htim1, TIM_CHANNEL_4);
	  htim1.Instance->CCR4 = SERVOCENTER; 	//Centre

	  HAL_GPIO_WritePin(GPIOA, BIN1_Pin, GPIO_PIN_SET); // RIGHT WHEEL FORWARD
	  HAL_GPIO_WritePin(GPIOA, BIN2_Pin, GPIO_PIN_RESET);
	  HAL_GPIO_WritePin(GPIOA, AIN1_Pin, GPIO_PIN_SET); // LEFT WHEEL FORWARD
	  HAL_GPIO_WritePin(GPIOA, AIN2_Pin, GPIO_PIN_RESET);
	  osDelay(1000);

	  /* Infinite loop */
	  for (;;) {
	    htim1.Instance->CCR4 = pwmVal_servo;
	    double error_angle = target_angle - total_angle;	//100 - total ang

	    // Check if there's an obstacle and we're trying to move forward straight
	    if (obstacle_detected && (aRxBuffer[0] == 'F') && (aRxBuffer[1] == 'S')) {
	      // Stop motors if obstacle detected and we're moving forward
	      pwmVal_L = 0;
	      pwmVal_R = 0;
	      e_brake = 1;
	    } else {
	      // Normal operation - no obstacle or not moving forward
	      if (pwmVal_servo < 127) { //TURN LEFT
	        pwmVal_R = PID_Angle(error_angle, 1) * 1.072;  //RIGHT = MASTER
	        pwmVal_L = pwmVal_R * (0.59); //LEFT = SLAVE

	        if (error_angle > 0) {
	          // LEFT WHEEL GO FORWARD
	          HAL_GPIO_WritePin(GPIOA, AIN1_Pin, GPIO_PIN_SET);
	          HAL_GPIO_WritePin(GPIOA, AIN2_Pin, GPIO_PIN_RESET);
	        } else {
	          //// LEFT WHEEL GO BACKWARD
	          HAL_GPIO_WritePin(GPIOA, AIN1_Pin, GPIO_PIN_RESET);
	          HAL_GPIO_WritePin(GPIOA, AIN2_Pin, GPIO_PIN_SET);
	        }
	      }

	      else if (pwmVal_servo > 189) { //TURN RIGHT
	        pwmVal_L = PID_Angle(error_angle, 0);
	        pwmVal_R = pwmVal_L * (0.59); //RIGHT = SLAVE

	        if (error_angle < 0) {
	          //RIGHT (WHEEL B) FORWARD
	          HAL_GPIO_WritePin(GPIOA, BIN1_Pin, GPIO_PIN_SET);
	          HAL_GPIO_WritePin(GPIOA, BIN2_Pin, GPIO_PIN_RESET);
	        } else {
	          //RIGHT (WHEEL B) BACKWARD
	          HAL_GPIO_WritePin(GPIOA, BIN1_Pin, GPIO_PIN_RESET);
	          HAL_GPIO_WritePin(GPIOA, BIN2_Pin, GPIO_PIN_SET);
	        }
	      }

	      else {
	        pwmVal_R = PID_Control(leftTarget - leftEncoderVal, 0) * 1.072;
	        if (labs(leftTarget - leftEncoderVal)> labs(rightTarget - rightEncoderVal)) {
	          straightCorrection++;
	        } else {
	          straightCorrection--;
	        }
	        if (labs(leftTarget - leftEncoderVal) < 100) {
	          straightCorrection = 0;
	        }
	        pwmVal_L = PID_Control(rightTarget - rightEncoderVal, 1)
	                + straightCorrection;

	        if ((leftTarget - leftEncoderVal) < 0) {
	          if (error_angle > 2) { // left +. right -.
	            pwmVal_servo = ((19 * 5) / 5 + SERVOCENTER);
	          } else if (error_angle < -2) {
	            pwmVal_servo = ((-19 * 5) / 5 + SERVOCENTER);
	          } else {
	            pwmVal_servo = ((19 * error_angle) / 5 + SERVOCENTER);
	          }
	        } else {
	          if (error_angle > 2) { // left +. right -.
	            pwmVal_servo = ((-19 * 5) / 5 + SERVOCENTER);
	          } else if (error_angle < -2) {
	            pwmVal_servo = ((19 * 5) / 5 + SERVOCENTER);
	          } else {
	            pwmVal_servo = ((-19 * error_angle) / 5 + SERVOCENTER);
	          }
	        }
	      }
	    }

	    if (e_brake) {
	      pwmVal_L = pwmVal_R = 0;
	      leftTarget = leftEncoderVal;
	      rightTarget = rightEncoderVal;
	    }

	    __HAL_TIM_SetCompare(&htim8,TIM_CHANNEL_1,pwmVal_L);
	    __HAL_TIM_SetCompare(&htim8,TIM_CHANNEL_2,pwmVal_R);
	    osDelay(10);//too small?

	    if (times_acceptable > 1000) {
	      times_acceptable = 1001;
	    }
	  }
  /* USER CODE END StartMotorTask */
}

void StartGyroTask(void *argument)
{
  /* USER CODE BEGIN StartGyroTask */
  /* Infinite loop */

			gyroInit();
			uint8_t val[2] = { 0, 0 };

			int16_t angularSpeed = 0;

			uint32_t tick = 0;
			double offset = 0;
			double garbage = 0;
			int i = 0;
			osDelay(50);
			while (i < 1000) {					//sample 1000 for calibration
				osDelay(1);
				readByte(0x37, val);
				angularSpeed =  val[1] | (val[0] << 8);

				garbage = garbage + (double) ((double) angularSpeed)
						* ((HAL_GetTick() - tick) / 16400.0);
				offset = offset + angularSpeed;		//CALIBRATION OFFSET
				tick = HAL_GetTick();
				i++;
			}
			offset = offset / i;

			tick = HAL_GetTick();
			/* Infinite loop */
			for (;;) {

				osDelay(100);
				readByte(0x37, val);
				angularSpeed = val[1] | (val[0] << 8);
				total_angle = total_angle + (double) ((double) angularSpeed - offset)
						* ((HAL_GetTick() - tick) / 16400.0);	//calculate angle change by time diff
				i = i- angularSpeed;
				i++;
				tick = HAL_GetTick();

			}
  /* USER CODE END StartGyroTask */
}

void Error_Handler(void)
{
  __disable_irq();
  while (1)
  {
  }
}
